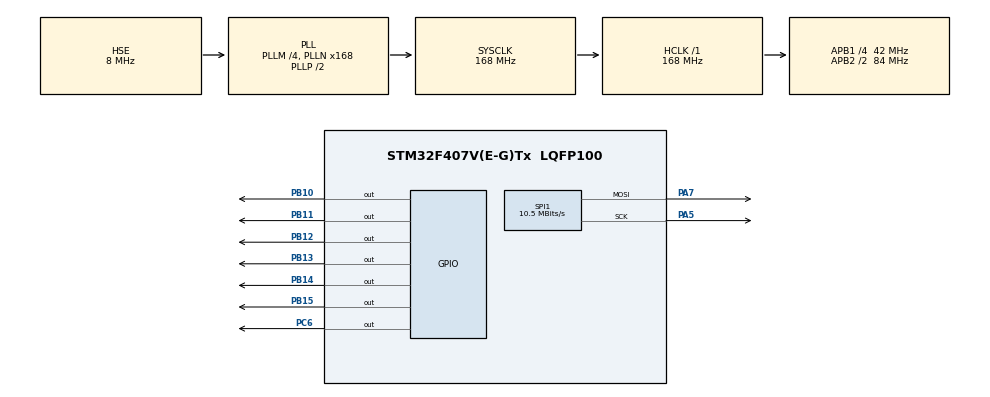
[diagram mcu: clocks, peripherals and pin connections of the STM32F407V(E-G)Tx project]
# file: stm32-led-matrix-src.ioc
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Mcu.Family=STM32F4
Mcu.Name=STM32F407V(E-G)Tx
Mcu.Package=LQFP100
NVIC.PriorityGroup=NVIC_PRIORITYGROUP_4
NVIC.TIM2_IRQn=true\:0\:0\:false\:false\:true\:true\:true\:true
PA13.Mode=Serial_Wire
PA13.Signal=SYS_JTMS-SWDIO
PA14.Mode=Serial_Wire
PA14.Signal=SYS_JTCK-SWCLK
PA5.Mode=TX_Only_Simplex_Unidirect_Master
PA5.Signal=SPI1_SCK
PA7.Mode=TX_Only_Simplex_Unidirect_Master
PA7.Signal=SPI1_MOSI
PB10.GPIO_Speed=GPIO_SPEED_FREQ_VERY_HIGH
PB10.Signal=GPIO_Output
PB11.GPIO_Speed=GPIO_SPEED_FREQ_VERY_HIGH
PB11.Signal=GPIO_Output
PB12.GPIO_Speed=GPIO_SPEED_FREQ_VERY_HIGH
PB12.Signal=GPIO_Output
PB13.GPIO_Speed=GPIO_SPEED_FREQ_VERY_HIGH
PB13.Signal=GPIO_Output
PB14.GPIO_Speed=GPIO_SPEED_FREQ_VERY_HIGH
PB14.Signal=GPIO_Output
PB15.GPIO_Speed=GPIO_SPEED_FREQ_VERY_HIGH
PB15.Signal=GPIO_Output
PC6.GPIO_Speed=GPIO_SPEED_FREQ_VERY_HIGH
PC6.Signal=GPIO_Output
PH0-OSC_IN.Mode=HSE-External-Oscillator
PH0-OSC_IN.Signal=RCC_OSC_IN
PH1-OSC_OUT.Mode=HSE-External-Oscillator
PH1-OSC_OUT.Signal=RCC_OSC_OUT
ProjectManager.HeapSize=0x200
ProjectManager.StackSize=0x400
ProjectManager.TargetToolchain=STM32CubeIDE
RCC.48MHZClocksFreq_Value=84000000
RCC.AHBFreq_Value=168000000
RCC.APB1CLKDivider=RCC_HCLK_DIV4
RCC.APB1Freq_Value=42000000
RCC.APB1TimFreq_Value=84000000
RCC.APB2CLKDivider=RCC_HCLK_DIV2
RCC.APB2Freq_Value=84000000
RCC.APB2TimFreq_Value=168000000
RCC.CortexFreq_Value=168000000
RCC.HCLKFreq_Value=168000000
RCC.HSE_VALUE=8000000
RCC.HSI_VALUE=16000000
RCC.LSE_VALUE=32768
RCC.PLLM=4
RCC.PLLN=168
RCC.PLLSourceVirtual=RCC_PLLSOURCE_HSE
RCC.SYSCLKFreq_VALUE=168000000
RCC.SYSCLKSource=RCC_SYSCLKSOURCE_PLLCLK
RCC.VCOOutputFreq_Value=336000000
SPI1.BaudRatePrescaler=SPI_BAUDRATEPRESCALER_8
SPI1.CalculateBaudRate=10.5 MBits/s
SPI1.Direction=SPI_DIRECTION_2LINES
SPI1.Mode=SPI_MODE_MASTER
SPI1.VirtualType=VM_MASTER
TIM1.AutoReloadPreload=TIM_AUTORELOAD_PRELOAD_DISABLE
TIM1.Period=65535
TIM1.Prescaler=168-1
TIM2.Period=1000-1
TIM2.Prescaler=168-1
VP_TIM1_VS_ClockSourceINT.Mode=Internal
VP_TIM2_VS_ClockSourceINT.Mode=Internal
board=custom

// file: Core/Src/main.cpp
/* USER CODE BEGIN Header */
/**
  ******************************************************************************
  * @file           : main.c
  * @brief          : Main program body
  ******************************************************************************
  * @attention
  *
  * Copyright (c) 2023 STMicroelectronics.
  * All rights reserved.
  *
  * This software is licensed under terms that can be found in the LICENSE file
  * in the root directory of this software component.
  * If no LICENSE file comes with this software, it is provided AS-IS.
  *
  ******************************************************************************
  */
/* USER CODE END Header */
#include "main.h"

/* USER CODE BEGIN Includes */
//https://controllerstech.com/create-1-microsecond-delay-stm32/
#include "PxMatrix.h"
#include "fun.h"
#include "test.h"

struct test
{
	int x, y;
};

void scroll_text();
//PxMATRIX display(32,16,P_LAT, P_OE,P_A,P_B,P_C);
PxMATRIX display(128,32, 0,0,0,0,0,0);
uint8_t bright=255, time=5, time2=50;
uint16_t scrollTime=10ul;
/* USER CODE END Includes */

 SPI_HandleTypeDef hspi1;

TIM_HandleTypeDef htim1;
TIM_HandleTypeDef htim2;

void SystemClock_Config(void);
static void MX_GPIO_Init(void);
static void MX_SPI1_Init(void);
static void MX_TIM1_Init(void);
static void MX_TIM2_Init(void);
/* USER CODE BEGIN PFP */

uint16_t myRED = display.color565(255, 0, 0);
uint16_t myGREEN = display.color565(0, 255, 0);
uint16_t myBLUE = display.color565(0, 0, 255);
uint16_t myWHITE = display.color565(255, 255, 255);
uint16_t myYELLOW = display.color565(255, 255, 0);
uint16_t myCYAN = display.color565(0, 255, 255);
uint16_t myMAGENTA = display.color565(255, 0, 255);
uint16_t myBLACK = display.color565(0, 0, 0);

//void scroll_text()
//{
//    display.setTextWrap(false);  // we don't wrap text so it scrolls nicely
//    display.setTextSize(1);
//    display.setRotation(0);
//
//    //display.setBrightness(255);
//    //display.setFastUpdate(1);
//    uint16_t start_time;
//
//    //display.setFastUpdate(true);
//
//    for (int xpos=64; xpos>-140; xpos--)
//    {
//     //  xpos=0;
//      display.setTextColor(myWHITE);
//      display.clearDisplay();
//
//      display.setCursor(xpos,0);
//      display.writeText("Test matrix 12312312");
//      //display.writeText("Wel");
//     // display.println("Wel");
//     //  display.println("1");
//     // display.copyBuffer(1);
//     start_time = millis();
//    while((millis()-start_time)<scrollTime)
//           display.display(time);
//
////    display.clearDisplay();
////
////    start_time = millis();
////   while((millis()-start_time)<time2)
////          display.display(time2);
//   // delay(50);
//    }
//}

void static_text()
{

    display.clearDisplay();
    display.setTextWrap(true);
    display.setTextSize(2);
    display.setCursor(0,2);

    display.setTextColor(myCYAN);
    display.writeText("Wel");
    display.setTextColor(myGREEN);
    display.writeText("come");
    display.setTextColor(myMAGENTA);
    display.writeText(" to ");
    display.setTextColor(myYELLOW);
    display.writeText("Px");
    display.setTextColor(myWHITE);
    display.writeText("Matrix!");

    display.setFastUpdate(0);
    time=10;
    display.showBuffer();
}

void scroll_text()
{
    display.setTextWrap(false);  // we don't wrap text so it scrolls nicely
    display.setTextSize(4);
    display.setRotation(0);

    uint32_t start_time,t1,t2;

    for (int xpos=64; xpos>-380; xpos--)
    {

      display.clearDisplay();

      display.setCursor(xpos,2);

     // display.writeText("Welcome to PxMatrix!");
      t1 = millis();
      display.setTextColor(myCYAN);
      display.writeText("Wel");
      display.setTextColor(myGREEN);
      display.writeText("come");
      display.setTextColor(myMAGENTA);
      display.writeText(" to ");
      display.setTextColor(myYELLOW);
      display.writeText("Px");
      display.setTextColor(myWHITE);
      display.writeText("Matrix!");

//      display.setTextColor(myCYAN);
//      display.writeText("WEL");
//      display.setTextColor(myGREEN);
//      display.writeText("COME");
//      display.setTextColor(myMAGENTA);
//      display.writeText(" TO ");
//      display.setTextColor(myYELLOW);
//      display.writeText("PX");
//      display.setTextColor(myWHITE);
//      display.writeText("MATRIX!");
      t2 = millis();
      //display.copyBuffer(1);
      time=1;
      display.setFastUpdate(1);
      display.showBuffer();
  //    delay(5);
     // display.writeText("Wel");

      start_time = millis();
      while((millis()-start_time)<20)
      {
    	// t1 = millis();
        // display.display(5);
        //t2 = millis();
      }
    }
}
/* USER CODE END PFP */

int main(void)
{

  /* MCU Configuration--------------------------------------------------------*/

  /* Reset of all peripherals, Initializes the Flash interface and the Systick. */
  HAL_Init();

  /* Configure the system clock */
  SystemClock_Config();

  /* Initialize all configured peripherals */
  MX_GPIO_Init();
  MX_SPI1_Init();
  MX_TIM1_Init();
  MX_TIM2_Init();
  /* USER CODE BEGIN 2 */
  HAL_TIM_Base_Start(&htim1);
  HAL_TIM_Base_Start_IT(&htim2);

  /* USER CODE END 2 */

  /* Infinite loop */
  /* USER CODE BEGIN WHILE */

  display.begin(16);
//display.setMuxDelay(255, 255, 255, 255, 0);
//display.setBrightness(255);
  display.clearDisplay();
  display.setTextColor(myYELLOW);

  display.setTextSize(2);
 display.drawRect(0,0,128,32,  myWHITE);
  //display.drawRoundRect(0,0,128,32, 8, myWHITE);
  //display.fillRect(0,0,128,32, myWHITE);

  display.setCursor(12,1);
  display.writeText("1.9TDI");
 // display.print(" GODZINA");
  display.setTextColor(myMAGENTA);
  //display.setCursor(12,17);
  display.setCursor(6,17);
  display.writeText("    POWER");
 // display.print(" 21:37:00");

//display.write('a');
//display.write('A');
//display.write('b');
//display.write('B');

//  display.copyBuffer(1);

//delay(2000);
  while (1)
  {
    /* USER CODE END WHILE */

    /* USER CODE BEGIN 3 */
	// GPIOC->ODR^=(1<<6);
	  //GPIOC->
	// delay_us3(42);
	  //cppfun();
	 // delay_ms(10000);

	  static_text();
	  delay(4000);
	  for(int i=0;i<2;i++)
	  {
		  scroll_text();
	  }
	 display.setBrightness(bright);
	// display.display(time);
	//scroll_text();
	  // delay(2);

  }
  /* USER CODE END 3 */
}

void SystemClock_Config(void)
{
  RCC_OscInitTypeDef RCC_OscInitStruct = {0};
  RCC_ClkInitTypeDef RCC_ClkInitStruct = {0};

  /** Configure the main internal regulator output voltage
  */
  __HAL_RCC_PWR_CLK_ENABLE();
  __HAL_PWR_VOLTAGESCALING_CONFIG(PWR_REGULATOR_VOLTAGE_SCALE1);

  /** Initializes the RCC Oscillators according to the specified parameters
  * in the RCC_OscInitTypeDef structure.
  */
  RCC_OscInitStruct.OscillatorType = RCC_OSCILLATORTYPE_HSE;
  RCC_OscInitStruct.HSEState = RCC_HSE_ON;
  RCC_OscInitStruct.PLL.PLLState = RCC_PLL_ON;
  RCC_OscInitStruct.PLL.PLLSource = RCC_PLLSOURCE_HSE;
  RCC_OscInitStruct.PLL.PLLM = 4;
  RCC_OscInitStruct.PLL.PLLN = 168;
  RCC_OscInitStruct.PLL.PLLP = RCC_PLLP_DIV2;
  RCC_OscInitStruct.PLL.PLLQ = 4;
  if (HAL_RCC_OscConfig(&RCC_OscInitStruct) != HAL_OK)
  {
    Error_Handler();
  }

  /** Initializes the CPU, AHB and APB buses clocks
  */
  RCC_ClkInitStruct.ClockType = RCC_CLOCKTYPE_HCLK|RCC_CLOCKTYPE_SYSCLK
                              |RCC_CLOCKTYPE_PCLK1|RCC_CLOCKTYPE_PCLK2;
  RCC_ClkInitStruct.SYSCLKSource = RCC_SYSCLKSOURCE_PLLCLK;
  RCC_ClkInitStruct.AHBCLKDivider = RCC_SYSCLK_DIV1;
  RCC_ClkInitStruct.APB1CLKDivider = RCC_HCLK_DIV4;
  RCC_ClkInitStruct.APB2CLKDivider = RCC_HCLK_DIV2;

  if (HAL_RCC_ClockConfig(&RCC_ClkInitStruct, FLASH_LATENCY_5) != HAL_OK)
  {
    Error_Handler();
  }
}

static void MX_SPI1_Init(void)
{

  /* SPI1 parameter configuration*/
  hspi1.Instance = SPI1;
  hspi1.Init.Mode = SPI_MODE_MASTER;
  hspi1.Init.Direction = SPI_DIRECTION_2LINES;
  hspi1.Init.DataSize = SPI_DATASIZE_8BIT;
  hspi1.Init.CLKPolarity = SPI_POLARITY_LOW;
  hspi1.Init.CLKPhase = SPI_PHASE_1EDGE;
  hspi1.Init.NSS = SPI_NSS_SOFT;
  hspi1.Init.BaudRatePrescaler = SPI_BAUDRATEPRESCALER_8;
  hspi1.Init.FirstBit = SPI_FIRSTBIT_MSB;
  hspi1.Init.TIMode = SPI_TIMODE_DISABLE;
  hspi1.Init.CRCCalculation = SPI_CRCCALCULATION_DISABLE;
  hspi1.Init.CRCPolynomial = 10;
  if (HAL_SPI_Init(&hspi1) != HAL_OK)
  {
    Error_Handler();
  }

}

static void MX_TIM1_Init(void)
{

  TIM_ClockConfigTypeDef sClockSourceConfig = {0};
  TIM_MasterConfigTypeDef sMasterConfig = {0};

  htim1.Instance = TIM1;
  htim1.Init.Prescaler = 168-1;
  htim1.Init.CounterMode = TIM_COUNTERMODE_UP;
  htim1.Init.Period = 65535;
  htim1.Init.ClockDivision = TIM_CLOCKDIVISION_DIV1;
  htim1.Init.RepetitionCounter = 0;
  htim1.Init.AutoReloadPreload = TIM_AUTORELOAD_PRELOAD_DISABLE;
  if (HAL_TIM_Base_Init(&htim1) != HAL_OK)
  {
    Error_Handler();
  }
  sClockSourceConfig.ClockSource = TIM_CLOCKSOURCE_INTERNAL;
  if (HAL_TIM_ConfigClockSource(&htim1, &sClockSourceConfig) != HAL_OK)
  {
    Error_Handler();
  }
  sMasterConfig.MasterOutputTrigger = TIM_TRGO_RESET;
  sMasterConfig.MasterSlaveMode = TIM_MASTERSLAVEMODE_DISABLE;
  if (HAL_TIMEx_MasterConfigSynchronization(&htim1, &sMasterConfig) != HAL_OK)
  {
    Error_Handler();
  }

}

static void MX_TIM2_Init(void)
{

  TIM_ClockConfigTypeDef sClockSourceConfig = {0};
  TIM_MasterConfigTypeDef sMasterConfig = {0};

  htim2.Instance = TIM2;
  htim2.Init.Prescaler = 168-1;
  htim2.Init.CounterMode = TIM_COUNTERMODE_UP;
  htim2.Init.Period = 1000-1;
  htim2.Init.ClockDivision = TIM_CLOCKDIVISION_DIV1;
  htim2.Init.AutoReloadPreload = TIM_AUTORELOAD_PRELOAD_DISABLE;
  if (HAL_TIM_Base_Init(&htim2) != HAL_OK)
  {
    Error_Handler();
  }
  sClockSourceConfig.ClockSource = TIM_CLOCKSOURCE_INTERNAL;
  if (HAL_TIM_ConfigClockSource(&htim2, &sClockSourceConfig) != HAL_OK)
  {
    Error_Handler();
  }
  sMasterConfig.MasterOutputTrigger = TIM_TRGO_RESET;
  sMasterConfig.MasterSlaveMode = TIM_MASTERSLAVEMODE_DISABLE;
  if (HAL_TIMEx_MasterConfigSynchronization(&htim2, &sMasterConfig) != HAL_OK)
  {
    Error_Handler();
  }

}

static void MX_GPIO_Init(void)
{
  GPIO_InitTypeDef GPIO_InitStruct = {0};

  /* GPIO Ports Clock Enable */
  __HAL_RCC_GPIOH_CLK_ENABLE();
  __HAL_RCC_GPIOA_CLK_ENABLE();
  __HAL_RCC_GPIOB_CLK_ENABLE();
  __HAL_RCC_GPIOC_CLK_ENABLE();

  /*Configure GPIO pin Output Level */
  HAL_GPIO_WritePin(GPIOB, GPIO_PIN_10|GPIO_PIN_11|GPIO_PIN_12|GPIO_PIN_13
                          |GPIO_PIN_14|GPIO_PIN_15, GPIO_PIN_RESET);

  /*Configure GPIO pin Output Level */
  HAL_GPIO_WritePin(GPIOC, GPIO_PIN_6, GPIO_PIN_RESET);

  /*Configure GPIO pins : PB10 PB11 PB12 PB13
                           PB14 PB15 */
  GPIO_InitStruct.Pin = GPIO_PIN_10|GPIO_PIN_11|GPIO_PIN_12|GPIO_PIN_13
                          |GPIO_PIN_14|GPIO_PIN_15;
  GPIO_InitStruct.Mode = GPIO_MODE_OUTPUT_PP;
  GPIO_InitStruct.Pull = GPIO_NOPULL;
  GPIO_InitStruct.Speed = GPIO_SPEED_FREQ_VERY_HIGH;
  HAL_GPIO_Init(GPIOB, &GPIO_InitStruct);

  /*Configure GPIO pin : PC6 */
  GPIO_InitStruct.Pin = GPIO_PIN_6;
  GPIO_InitStruct.Mode = GPIO_MODE_OUTPUT_PP;
  GPIO_InitStruct.Pull = GPIO_NOPULL;
  GPIO_InitStruct.Speed = GPIO_SPEED_FREQ_VERY_HIGH;
  HAL_GPIO_Init(GPIOC, &GPIO_InitStruct);

}

/* USER CODE BEGIN 4 */
void HAL_TIM_PeriodElapsedCallback(TIM_HandleTypeDef* htim)
{
    //HAL_GPIO_TogglePin(GPIOB, GPIO_PIN_13);
  //  display.display(20);
	GPIOC->ODR^=(1<<6);

	display.display(time);
}
/* USER CODE END 4 */

void Error_Handler(void)
{
  __disable_irq();
  while (1)
  {
  }
}
